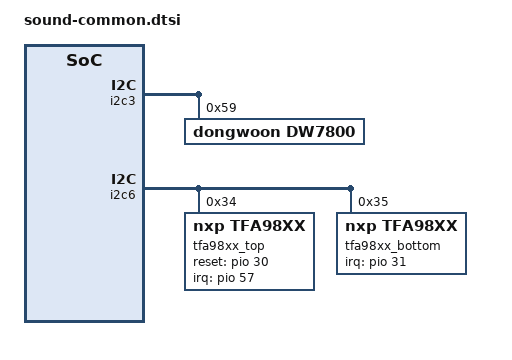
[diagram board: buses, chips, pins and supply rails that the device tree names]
/*
 * Mediatek's mt6885 SoC device tree source
 *
 * Copyright (C) 2016 MediaTek Inc.
 *
 * This program is free software; you can redistribute it and/or modify
 * it under the terms of the GNU General Public License version 2 as
 * published by the Free Software Foundation.
 *
 * This program is distributed in the hope that it will be useful,
 * but WITHOUT ANY WARRANTY; without even the implied warranty of
 * MERCHANTABILITY or FITNESS FOR A PARTICULAR PURPOSE.
 * See http://www.gnu.org/licenses/gpl-2.0.html for more details.
 */
&i2c3 {
	status = "okay";
	dw7800@59 {
		compatible = "dongwoon,dw7800";
		reg = <0x59>;
		dongwoon,vpwr-on = <0>;
		status = "okay";
	};
};


&i2c6 {
	/*Left*/
	tfa98xx_top:tfa98xx@34 {
		compatible = "nxp,tfa98xx";
		reg = <0x34>;
		status = "okay";
		reset-gpio = <&pio 30 0>;
		irq-gpio = <&pio 57 0>;
		reset-polarity = <0>;
		lower-limit-cal = <6050>;
		upper-limit-cal = <7400>;
	};
	/*Right*/
	tfa98xx_bottom:tfa98xx@35 {
		compatible = "nxp,tfa98xx";
		irq-gpio = <&pio 31 0>;
		reg = <0x35>;
		status = "okay";
		lower-limit-cal = <5400>;
		upper-limit-cal = <6670>;
	};
};

&sound {
	compatible = "mediatek,mt6885-mt6359-sound";
	mediatek,audio-codec = <&mt6359_snd>;
	mediatek,platform = <&afe>;
	mtk_spk_i2s_out = <3>;
	mtk_spk_i2s_in = <9>;

	ext-codec = <&tfa98xx_top>, <&tfa98xx_bottom>;
	ext-codec-names = "tfa98xx-codec.6-0034", "tfa98xx-codec.6-0035";
};

/* feature : $enable $dl_mem $ul_mem $ref_mem */
&snd_audio_dsp {
	compatible = "mediatek,snd_audio_dsp";
	mtk_dsp_voip = <0x7 0x1 0xffffffff 0xffffffff>;
	mtk_dsp_primary = <0x7 0x0 0xffffffff 0xffffffff>;
	mtk_dsp_offload = <0x0 0x6 0xffffffff 0xffffffff>;
	mtk_dsp_deep = <0x7 0x3 0xffffffff 0xffffffff>;
	mtk_dsp_playback = <0x1 0x4 0x10 0x14>;
	mtk_dsp_music = <0x1 0xffffffff 0xffffffff 0xffffffff>;
	mtk_dsp_capture1 = <0x0 0xffffffff 0xd 0x13>;
	mtk_dsp_a2dp = <0x0 0xffffffff 0xffffffff 0xffffffff>;
	mtk_dsp_dataprovider = <0x1 0xffffffff 0xf 0xffffffff>;
	mtk_dsp_call_final = <0x7 0x4 0x10 0x14>;
	mtk_dsp_fast = <0x7 0x2 0xffffffff 0xffffffff>;
	mtk_dsp_ktv = <0x0 0x8 0x12 0xffffffff>;
	mtk_dsp_ver = <0x1>;
	swdsp_smartpa_process_enable = <0x7>;
};
